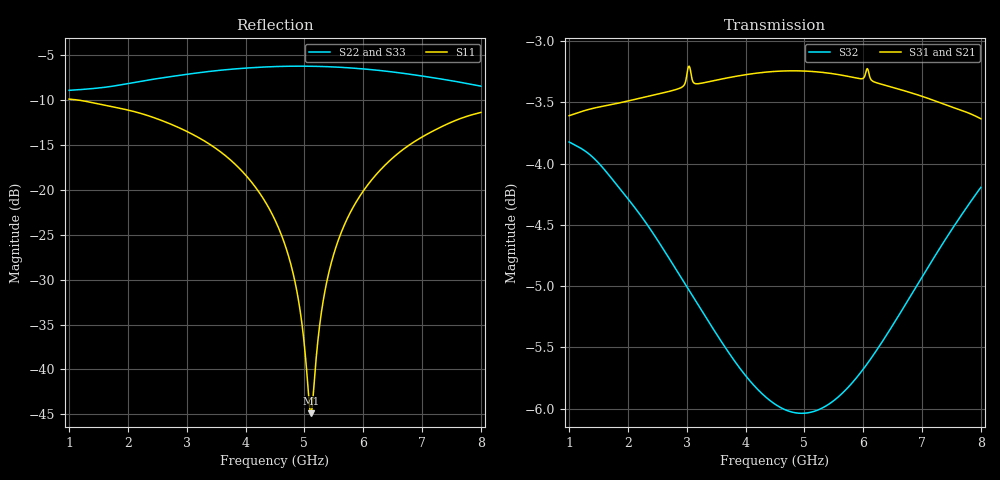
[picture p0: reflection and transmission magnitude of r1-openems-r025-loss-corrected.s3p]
! Order 0 openEMS r1 (r025), 43 um PEC copper, nominal FR408HR; loss-corrected (path [('arm', 9.2), ('line', 6.0)]) against openEMS's own 0.40 mm line
! 50 ohm, e^(+jwt)
# GHz S RI R 50
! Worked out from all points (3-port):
!   701 points, 1 GHz to 8 GHz, reference 50 ohm
!   strongest paths, dB at 1 GHz, 2.75 GHz, 4.5 GHz, 6.25 GHz, 8 GHz:
!     S31: -3.6, -3.4, -3.2, -3.3, -3.6
!     S21: -3.5, -3.4, -3.2, -3.3, -3.6
!     S32: -3.8, -4.8, -6.0, -5.5, -4.2
!   lowest |S11| = -44.9 dB at 5.11 GHz (marker M1), VSWR 1.01, Z = 50.6 + j0.0202 ohm
!   |S11| at or under -10 dB: 1.155 GHz to end of sweep
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1  -0.3085 0.0858  0.5793 -0.3188  0.5754 -0.3138
   0.5824 -0.3222  -0.3461 0.0929  0.5703 -0.299
   0.5786 -0.3174  0.5703 -0.299  -0.3568 0.0955
3.03  -0.1322 0.1623  0.0182 -0.6909  0.0182 -0.6908
      0.0183 -0.6909  -0.2251 0.3798  0.1061 -0.5505
      0.0184 -0.6909  0.1061 -0.5505  -0.2252 0.3798
3.89  -0.0507 0.1221  -0.2841 -0.6233  -0.2838 -0.6235
      -0.2842 -0.6235  -0.0568 0.4703  -0.0664 -0.5168
      -0.2839 -0.6236  -0.0664 -0.5168  -0.0573 0.4702
4.5  -0.0102 0.0672  -0.4709 -0.5011  -0.4708 -0.5013
     -0.4711 -0.5014  0.0922 0.4772  -0.1614 -0.4767
     -0.471 -0.5015  -0.1614 -0.4767  0.092 0.4772
4.87  0.00272 0.0273  -0.5611 -0.3982  -0.561 -0.3983
      -0.5612 -0.3985  0.1829 0.453  -0.213 -0.4515
      -0.5612 -0.3985  -0.213 -0.4515  0.1828 0.453
5.11  0.00569 0.0002  -0.6075 -0.3225  -0.6076 -0.3227
      -0.6076 -0.3225  0.2377 0.4263  -0.2455 -0.4351
      -0.6076 -0.3226  -0.2455 -0.4351  0.2375 0.4263
5.39  0.00374 -0.0316  -0.6483 -0.2274  -0.6484 -0.2277
      -0.6482 -0.2268  0.2952 0.3853  -0.2835 -0.4153
      -0.6483 -0.2271  -0.2835 -0.4153  0.2948 0.3853
5.85  -0.0121 -0.0815  -0.6814 -0.061  -0.6817 -0.0614
      -0.6809 -0.0603  0.3695 0.3  -0.3484 -0.379
      -0.6812 -0.0606  -0.3484 -0.379  0.3689 0.2999
6.71  -0.0771 -0.1526  -0.6299 0.2446  -0.6302 0.2446
      -0.6291 0.2451  0.4298 0.1128  -0.4794 -0.2743
      -0.6294 0.2451  -0.4794 -0.2743  0.4293 0.1128
8  -0.2102 -0.1694  -0.3318 0.57  -0.3314 0.569
   -0.3277 0.5719  0.3625 -0.1079  -0.6168 0.0154
   -0.3273 0.5709  -0.6168 0.0154  0.3645 -0.1078
